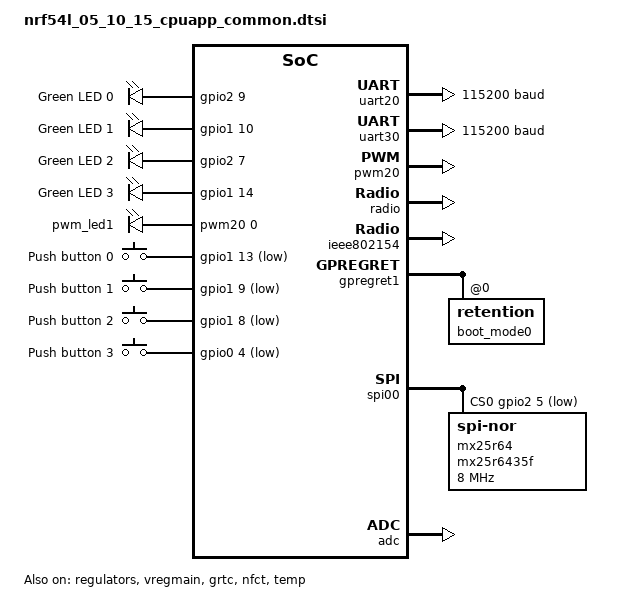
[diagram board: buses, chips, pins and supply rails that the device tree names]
/*
 * Copyright (c) 2024 Nordic Semiconductor ASA
 *
 * SPDX-License-Identifier: Apache-2.0
 */

/* This file is common to the secure and non-secure domain */

#include "nrf54l15dk_common.dtsi"

/ {
	leds {
		compatible = "gpio-leds";

		led0: led_0 {
			gpios = <&gpio2 9 GPIO_ACTIVE_HIGH>;
			label = "Green LED 0";
		};

		led1: led_1 {
			gpios = <&gpio1 10 GPIO_ACTIVE_HIGH>;
			label = "Green LED 1";
		};

		led2: led_2 {
			gpios = <&gpio2 7 GPIO_ACTIVE_HIGH>;
			label = "Green LED 2";
		};

		led3: led_3 {
			gpios = <&gpio1 14 GPIO_ACTIVE_HIGH>;
			label = "Green LED 3";
		};
	};

	pwmleds {
		compatible = "pwm-leds";

		/*
		 * PWM signal can be exposed on GPIO pin only within same domain.
		 * There is only one domain which contains both PWM and GPIO:
		 * PWM20/21/22 and GPIO Port P1.
		 * Only LEDs connected to P1 can work with PWM, for example LED1.
		 */
		pwm_led1: pwm_led_1 {
			pwms = <&pwm20 0 PWM_MSEC(20) PWM_POLARITY_NORMAL>;
		};
	};

	buttons {
		compatible = "gpio-keys";

		button0: button_0 {
			gpios = <&gpio1 13 (GPIO_PULL_UP | GPIO_ACTIVE_LOW)>;
			label = "Push button 0";
			zephyr,code = <INPUT_KEY_0>;
		};

		button1: button_1 {
			gpios = <&gpio1 9 (GPIO_PULL_UP | GPIO_ACTIVE_LOW)>;
			label = "Push button 1";
			zephyr,code = <INPUT_KEY_1>;
		};

		button2: button_2 {
			gpios = <&gpio1 8 (GPIO_PULL_UP | GPIO_ACTIVE_LOW)>;
			label = "Push button 2";
			zephyr,code = <INPUT_KEY_2>;
		};

		button3: button_3 {
			gpios = <&gpio0 4 (GPIO_PULL_UP | GPIO_ACTIVE_LOW)>;
			label = "Push button 3";
			zephyr,code = <INPUT_KEY_3>;
		};
	};

	aliases {
		led0 = &led0;
		led1 = &led1;
		led2 = &led2;
		led3 = &led3;
		pwm-led0 = &pwm_led1;
		sw0 = &button0;
		sw1 = &button1;
		sw2 = &button2;
		sw3 = &button3;
		watchdog0 = &wdt31;
	};
};

&uart20 {
	current-speed = <115200>;
	pinctrl-0 = <&uart20_default>;
	pinctrl-1 = <&uart20_sleep>;
	pinctrl-names = "default", "sleep";
};

&uart30 {
	current-speed = <115200>;
	pinctrl-0 = <&uart30_default>;
	pinctrl-1 = <&uart30_sleep>;
	pinctrl-names = "default", "sleep";
};

&pwm20 {
	status = "okay";
	pinctrl-0 = <&pwm20_default>;
	pinctrl-1 = <&pwm20_sleep>;
	pinctrl-names = "default", "sleep";
};

&hfxo {
	startup-time-us = <854>;
};

/* Get a node label for wi-fi spi to use in shield files */
wifi_spi: &spi22 {};


/ {
	chosen {
		zephyr,console = &uart20;
		zephyr,shell-uart = &uart20;
		zephyr,uart-mcumgr = &uart20;
		zephyr,bt-mon-uart = &uart20;
		zephyr,bt-c2h-uart = &uart20;
		zephyr,flash-controller = &rram_controller;
		zephyr,flash = &cpuapp_rram;
		zephyr,ieee802154 = &ieee802154;
		zephyr,boot-mode = &boot_mode0;
	};
};

&cpuapp_sram {
	status = "okay";
};

&lfxo {
	load-capacitors = "internal";
	load-capacitance-femtofarad = <17000>;
};

&hfxo {
	load-capacitors = "internal";
	load-capacitance-femtofarad = <15000>;
};

&regulators {
	status = "okay";
};

&vregmain {
	status = "okay";
	regulator-initial-mode = <NRF5X_REG_MODE_DCDC>;
};

&grtc {
	owned-channels = <0 1 2 3 4 5 6 7 8 9 10 11>;
	/* Channels 7-11 reserved for Zero Latency IRQs, 3-4 for FLPR */
	child-owned-channels = <3 4 7 8 9 10 11>;
	status = "okay";
};

&uart20 {
	status = "okay";
};

&nfct {
	status = "okay";
};

&gpio0 {
	status = "okay";
};

&gpio1 {
	status = "okay";
};

&gpio2 {
	status = "okay";
};

&gpiote20 {
	status = "okay";
};

&gpiote30 {
	status = "okay";
};

&radio {
	status = "okay";
};

&ieee802154 {
	status = "okay";
};

&temp {
	status = "okay";
};

&clock {
	status = "okay";
};

&gpregret1 {
	status = "okay";

	boot_mode0: boot_mode@0 {
		compatible = "zephyr,retention";
		status = "okay";
		reg = <0x0 0x1>;
	};
};

&spi00 {
	status = "okay";
	cs-gpios = <&gpio2 5 GPIO_ACTIVE_LOW>;
	pinctrl-0 = <&spi00_default>;
	pinctrl-1 = <&spi00_sleep>;
	pinctrl-names = "default", "sleep";

	mx25r64: mx25r6435f@0 {
		compatible = "jedec,spi-nor";
		status = "okay";
		reg = <0>;
		spi-max-frequency = <8000000>;
		jedec-id = [c2 28 17];
		sfdp-bfp = [
			e5 20 f1 ff  ff ff ff 03  44 eb 08 6b  08 3b 04 bb
			ee ff ff ff  ff ff 00 ff  ff ff 00 ff  0c 20 0f 52
			10 d8 00 ff  23 72 f5 00  82 ed 04 cc  44 83 48 44
			30 b0 30 b0  f7 c4 d5 5c  00 be 29 ff  f0 d0 ff ff
		];
		size = <67108864>;
		has-dpd;
		t-enter-dpd = <10000>;
		t-exit-dpd = <35000>;
	};
};

&adc {
	status = "okay";
};
